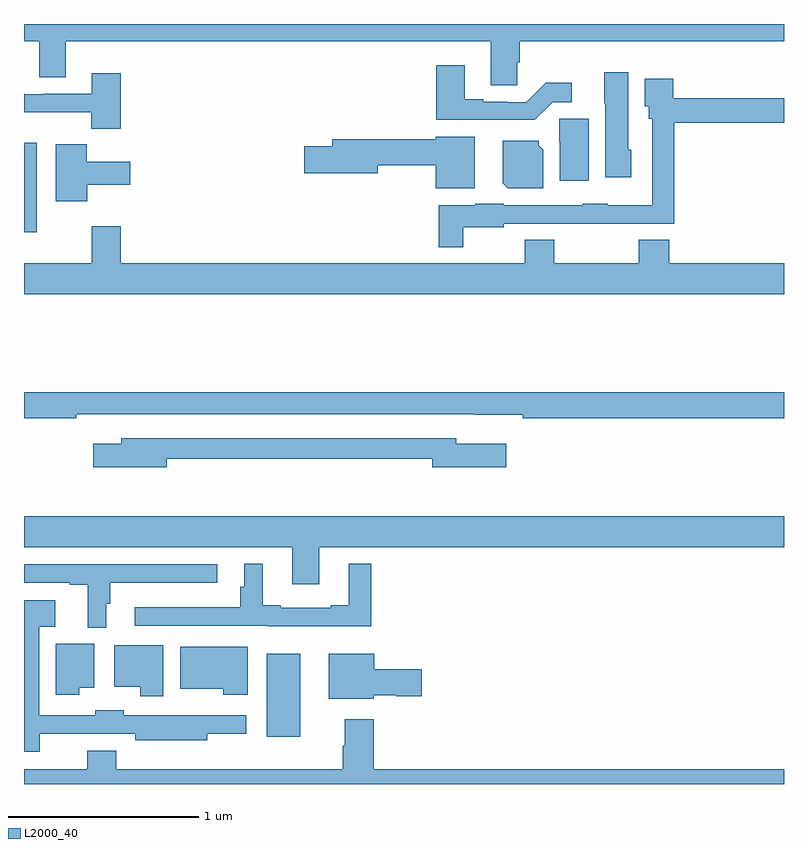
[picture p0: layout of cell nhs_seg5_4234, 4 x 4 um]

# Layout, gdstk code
import gdstk
lib = gdstk.Library(unit=1e-6, precision=1e-09)
def R(c, l, rs):  # rectangles x0, y0, x1, y1
    for r in rs: c.add(gdstk.rectangle(r[:2], r[2:], *l))
def P(c, l, *ps):  # polygons
    for p in ps: c.add(gdstk.Polygon(p, *l))
L2000_40 = (2000, 40)

nhs_seg5_4234 = lib.new_cell('nhs_seg5_4234')
R(nhs_seg5_4234, L2000_40, [(360.278,905.048,360.454,905.485), (359,907.704,359.068,908.173)])
P(nhs_seg5_4234, L2000_40, [(361.596,908.598),(361.61,908.598),(361.61,908.708),(363,908.708),(363,908.799),(359,908.799),(359,908.708),(359.081,908.708),(359.081,908.518),(359.221,908.518),(359.221,908.708),(361.457,908.708),(361.457,908.476),(361.596,908.476)],
  [(361.782,908.388),(361.882,908.388),(361.882,908.491),(361.747,908.491),(361.644,908.388),(361.544,908.388),(361.544,908.391),(361.417,908.391),(361.417,908.404),(361.321,908.404),(361.321,908.581),(361.169,908.581),(361.169,908.294),(361.688,908.294)],
  [(362.197,908.136),(362.179,908.136),(362.179,908.545),(362.054,908.545),(362.054,908.382),(362.06,908.382),(362.06,907.992),(362.197,907.992)],
  [(359.51,908.539),(359.357,908.539),(359.357,908.433),(359.101,908.433),(359.101,908.43),(359.002,908.43),(359,908.432),(359,908.334),(359.355,908.334),(359.355,908.249),(359.51,908.249)],
  [(361.312,907.73),(361.524,907.73),(361.524,907.749),(361.941,907.749),(361.941,907.748),(362.173,907.748),(362.173,907.749),(362.423,907.749),(362.423,908.278),(363,908.278),(363,908.407),(362.417,908.407),(362.417,908.512),(362.267,908.512),(362.267,908.367),(362.288,908.367),(362.288,908.301),(362.307,908.301),(362.307,907.846),(362.073,907.846),(362.073,907.852),(361.941,907.852),(361.941,907.845),(361.524,907.845),(361.524,907.852),(361.374,907.852),(361.374,907.846),(361.183,907.846),(361.183,907.625),(361.312,907.625)],
  [(361.972,908.301),(361.816,908.301),(361.816,908.178),(361.82,908.178),(361.82,907.974),(361.972,907.974)],
  [(361.372,908.206),(361.166,908.206),(361.166,908.192),(360.623,908.192),(360.623,908.156),(360.474,908.156),(360.474,908.014),(360.862,908.014),(360.862,908.056),(361.166,908.056),(361.166,907.934),(361.372,907.934)],
  [(361.732,908.138),(361.71,908.16),(361.71,908.185),(361.52,908.185),(361.52,907.96),(361.546,907.934),(361.732,907.934)],
  [(359.332,907.952),(359.56,907.952),(359.56,908.074),(359.33,908.074),(359.33,908.167),(359.168,908.167),(359.168,907.866),(359.332,907.866)],
  [(363,907.54),(362.396,907.54),(362.396,907.664),(362.236,907.664),(362.236,907.54),(361.791,907.54),(361.791,907.664),(361.636,907.664),(361.636,907.54),(359.51,907.54),(359.51,907.735),(359.357,907.735),(359.357,907.54),(359,907.54),(359,907.376),(363,907.376)],
  [(359.276,906.744),(361.372,906.744),(361.372,906.743),(361.624,906.743),(361.624,906.724),(363,906.724),(363,906.86),(359,906.86),(359,906.724),(359.276,906.724)],
  [(359.752,906.51),(361.148,906.51),(361.148,906.467),(361.537,906.467),(361.537,906.589),(361.276,906.589),(361.276,906.618),(359.513,906.618),(359.513,906.589),(359.364,906.589),(359.364,906.467),(359.752,906.467)],
  [(360.553,906.044),(363,906.044),(363,906.208),(359,906.208),(359,906.044),(360.413,906.044),(360.413,905.85),(360.553,905.85)],
  [(360.827,905.959),(360.71,905.959),(360.71,905.74),(360.614,905.74),(360.614,905.727),(360.352,905.727),(360.352,905.74),(360.256,905.74),(360.256,905.959),(360.158,905.959),(360.158,905.838),(360.139,905.838),(360.139,905.728),(359.583,905.728),(359.583,905.631),(360.282,905.631),(360.282,905.63),(360.827,905.63)],
  [(359.434,905.748),(359.453,905.748),(359.453,905.858),(360.016,905.858),(360.016,905.955),(359,905.955),(359,905.859),(359.24,905.859),(359.24,905.847),(359.336,905.847),(359.336,905.622),(359.434,905.622)],
  [(359.082,905.063),(359.276,905.063),(359.276,905.064),(359.585,905.064),(359.585,905.03),(359.965,905.03),(359.965,905.063),(360.169,905.063),(360.169,905.16),(359.861,905.16),(359.861,905.161),(359.526,905.161),(359.526,905.188),(359.376,905.188),(359.376,905.16),(359.079,905.16),(359.079,905.627),(359.164,905.627),(359.164,905.767),(359,905.767),(359,904.968),(359.082,904.968)],
  [(359.29,905.306),(359.371,905.306),(359.371,905.536),(359.168,905.536),(359.168,905.27),(359.29,905.27)],
  [(359.734,905.53),(359.474,905.53),(359.474,905.312),(359.612,905.312),(359.612,905.262),(359.734,905.262)],
  [(360.178,905.521),(359.822,905.521),(359.822,905.3),(360.049,905.3),(360.049,905.27),(360.178,905.27)],
  [(360.84,905.267),(360.96,905.267),(360.96,905.26),(361.093,905.26),(361.093,905.402),(360.844,905.402),(360.844,905.485),(360.605,905.485),(360.605,905.249),(360.84,905.249)],
  [(363,904.876),(360.842,904.876),(360.842,905.14),(360.689,905.14),(360.689,905),(360.677,905),(360.677,904.876),(359.486,904.876),(359.486,904.975),(359.333,904.975),(359.333,904.876),(359,904.876),(359,904.799),(363,904.799)])

lib.write_gds('nhs_seg5_4234.gds')
